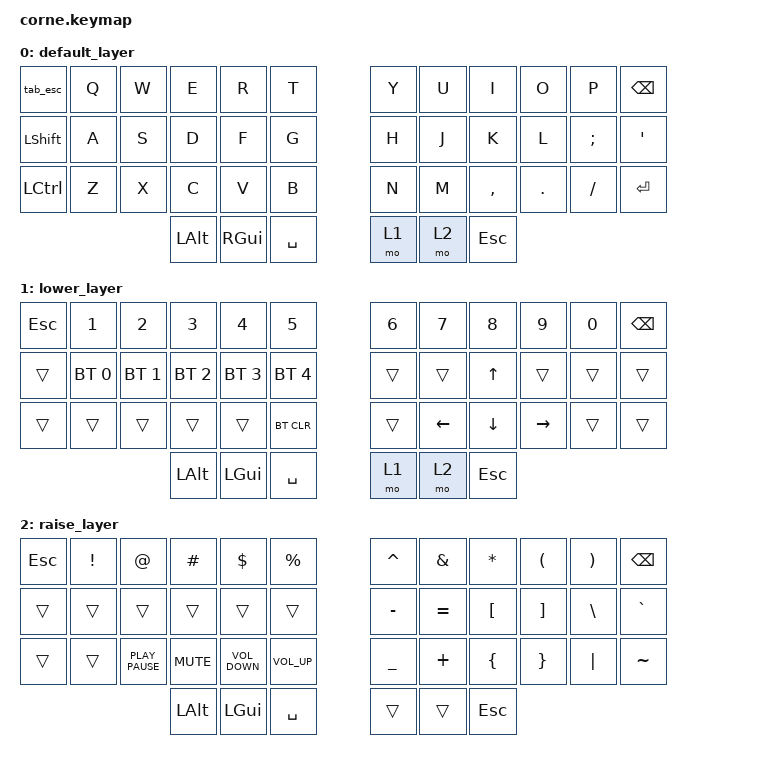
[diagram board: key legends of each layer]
/*
 * Copyright (c) 2020 The ZMK Contributors
 *
 * SPDX-License-Identifier: MIT
 */

#include <behaviors.dtsi>
#include <dt-bindings/zmk/bt.h>
#include <dt-bindings/zmk/keys.h>

/ {
    behaviors {
        tab_esc: tab_esc {
            compatible = "zmk,behavior-tap-dance";
            label = "TAB_ESC";
            #binding-cells = <0>;
            bindings = <&kp TAB>, <&kp ESC>;
        };
    };

    keymap {
        compatible = "zmk,keymap";

        default_layer {
            // -----------------------------------------------------------------------------------------
            // |  TAB |  Q  |  W  |  E  |  R  |  T  |   |  Y  |  U   |  I  |  O  |  P  | BSPC |
            // | CTRL |  A  |  S  |  D  |  F  |  G  |   |  H  |  J   |  K  |  L  |  ;  |  '   |
            // | SHFT |  Z  |  X  |  C  |  V  |  B  |   |  N  |  M   |  ,  |  .  |  /  | ESC  |
            //                    | GUI | LWR | SPC |   | ENT | RSE  | ALT |

            bindings = <
&tab_esc          &kp Q  &kp W  &kp E     &kp R     &kp T        &kp Y  &kp U  &kp I      &kp O    &kp P     &kp BSPC
&kp LSHIFT        &kp A  &kp S  &kp D     &kp F     &kp G        &kp H  &kp J  &kp K      &kp L    &kp SEMI  &kp SQT
&kp LEFT_CONTROL  &kp Z  &kp X  &kp C     &kp V     &kp B        &kp N  &kp M  &kp COMMA  &kp DOT  &kp FSLH  &kp ENTER
                                &kp LALT  &kp RGUI  &kp SPACE    &mo 1  &mo 2  &kp ESC
            >;
        };

        lower_layer {
            // -----------------------------------------------------------------------------------------
            // |  TAB |  1  |  2  |  3  |  4  |  5  |   |  6  |  7  |  8  |  9  |  0  | BSPC |
            // | BTCLR| BT1 | BT2 | BT3 | BT4 | BT5 |   | LFT | DWN |  UP | RGT |     |      |
            // | SHFT |     |     |     |     |     |   |     |     |     |     |     |      |
            //                    | GUI |     | SPC |   | ENT |     | ALT |

            bindings = <
&kp ESC  &kp N1        &kp N2        &kp N3        &kp N4        &kp N5          &kp N6  &kp N7          &kp N8    &kp N9     &kp N0  &kp BSPC
&trans   &bt BT_SEL 0  &bt BT_SEL 1  &bt BT_SEL 2  &bt BT_SEL 3  &bt BT_SEL 4    &trans  &trans          &kp UP    &trans     &trans  &trans
&trans   &trans        &trans        &trans        &trans        &bt BT_CLR      &trans  &kp LEFT_ARROW  &kp DOWN  &kp RIGHT  &trans  &trans
                                     &kp LEFT_ALT  &kp LEFT_GUI  &kp SPACE       &mo 1   &mo 2           &kp ESC
            >;
        };

        raise_layer {
            // -----------------------------------------------------------------------------------------
            // |  TAB |  !  |  @  |  #  |  $  |  %  |   |  ^  |  &  |  *  |  (  |  )  | BSPC |
            // | CTRL |     |     |     |     |     |   |  -  |  =  |  [  |  ]  |  \  |  `   |
            // | SHFT |     |     |     |     |     |   |  _  |  +  |  {  |  }  | "|" |  ~   |
            //                    | GUI |     | SPC |   | ENT |     | ALT |

            bindings = <
&kp ESC  &kp EXCL  &kp AT            &kp HASH    &kp DLLR           &kp PRCNT          &kp CARET  &kp AMPS   &kp ASTRK  &kp LPAR  &kp RPAR  &kp BSPC
&trans   &trans    &trans            &trans      &trans             &trans             &kp MINUS  &kp EQUAL  &kp LBKT   &kp RBKT  &kp BSLH  &kp GRAVE
&trans   &trans    &kp K_PLAY_PAUSE  &kp K_MUTE  &kp C_VOLUME_DOWN  &kp C_VOLUME_UP    &kp UNDER  &kp PLUS   &kp LBRC   &kp RBRC  &kp PIPE  &kp TILDE
                                     &kp LALT    &kp LEFT_GUI       &kp SPACE          &trans     &trans     &kp ESC
            >;
        };
    };
};
